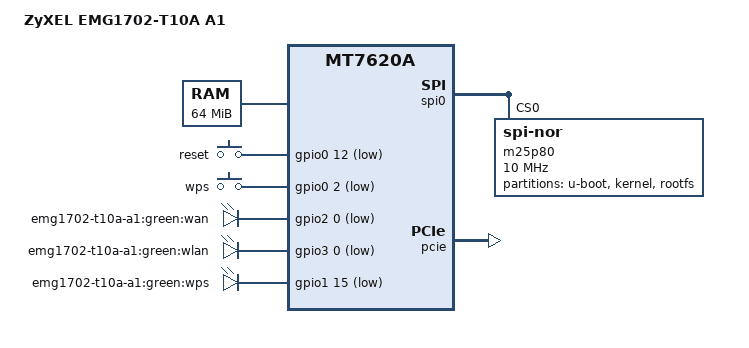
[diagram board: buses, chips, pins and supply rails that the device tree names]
/dts-v1/;

#include "mt7620a.dtsi"

#include <dt-bindings/gpio/gpio.h>
#include <dt-bindings/input/input.h>

/ {
	compatible = "zyxel,emg1702-t10a-a1", "ralink,mt7620a-soc";
	model = "ZyXEL EMG1702-T10A A1";

  chosen {
	bootargs = "console=ttyS0,115200";
  };

  memory@0 {
		device_type = "memory";
		reg = <0x0 0x4000000>;
	};

	gpio-keys-polled {
		compatible = "gpio-keys-polled";
		#address-cells = <1>;
		#size-cells = <0>;
		poll-interval = <20>;

		reset {
			label = "reset";
			gpios = <&gpio0 12 GPIO_ACTIVE_LOW>;
			linux,code = <KEY_RESTART>;
		};

		wps {
			label = "wps";
			gpios = <&gpio0 2 GPIO_ACTIVE_LOW>;
			linux,code = <KEY_WPS_BUTTON>;
		};
	};

	gpio-leds {
		compatible = "gpio-leds";

		wan {
			label = "emg1702-t10a-a1:green:wan";
			gpios = <&gpio2 0 GPIO_ACTIVE_LOW>;
		};

		wlan {
			label = "emg1702-t10a-a1:green:wlan";
			gpios = <&gpio3 0 GPIO_ACTIVE_LOW>;
		};

		wps {
			label = "emg1702-t10a-a1:green:wps";
			gpios = <&gpio1 15 GPIO_ACTIVE_LOW>;
		};
	};
};

&gpio0 {
	status = "okay";
};
&gpio1 {
	status = "okay";
};
&gpio2 {
	status = "okay";
};
&gpio3 {
	status = "okay";
};

&spi0 {
	status = "okay";

	m25p80@0 {
		#address-cells = <1>;
		#size-cells = <1>;
		compatible = "jedec,spi-nor";
		reg = <0>;
		spi-max-frequency = <10000000>;

		uboot: partition@0 {
			label = "u-boot";
			reg = <0x0 0x30000>;
			read-only;
		};

		partition@30000 {
			label = "kernel";
			reg = <0x30000 0x1d1000>;
		};

		partition@200000 {
			label = "rootfs";
			reg = <0x201000 0x600000>;
		};

		partition {
			label = "firmware";
			reg = <0x30000 0x7d0000>;
		};
	};
};

&pinctrl {
	state_default: pinctrl0 {
		gpio {
			ralink,group = "i2c", "uartf", "wled", "ephy", "spi refclk";
			ralink,function = "gpio";
		};
	};
};

&ethernet {
	pinctrl-names = "default";
	mediatek,portmap = "llllw";
};

&gsw {
	mediatek,port4 = "ephy";
};

&pcie {
	status = "okay";
};


